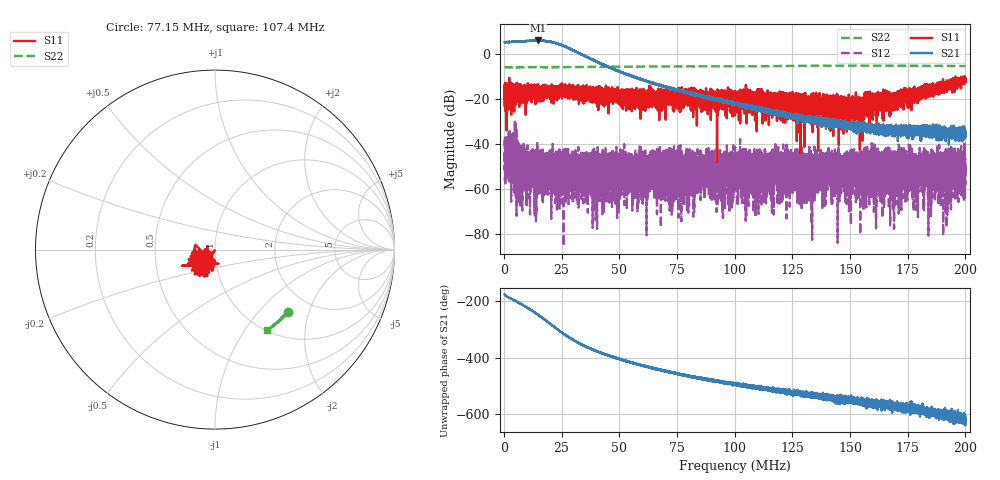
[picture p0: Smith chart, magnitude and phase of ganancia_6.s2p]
# Hz S DB R 50
! CMT, M5065, 19127446, 24.2.4/2
! Date: 11/8/2024 3:47:39 PM
! Data: Format (Calibration Info)
! Freq	S11:dB/Ang(F2)	S21:dB/Ang(F2)	S12:dB/Ang(F2)	S22:dB/Ang(F2)
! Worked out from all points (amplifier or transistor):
!   9000 points, 300 kHz to 200 MHz, reference 50 ohm
!   highest |S21| = 6.1 dB at 14.79 MHz (marker M1)
!   |S21| within 3 dB of that: start of sweep to 27.12 MHz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
!   unconditionally stable (mu >= 1): start of sweep to end of sweep
!   at 33.59 MHz: K = 144.29, MAG = 1.3 dB, |S12| = -51.9 dB
!   at 100.2 MHz: K = 1238.35, MAG = -20.2 dB, |S12| = -49.2 dB
!   at 200 MHz: K = 5799.58, MAG = -32.6 dB, |S12| = -50.5 dB
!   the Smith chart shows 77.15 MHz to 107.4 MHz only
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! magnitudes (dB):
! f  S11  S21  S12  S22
! 300 kHz  -13.9  5.3  -48.0  -5.8
! 4.383 MHz  -18.5  5.4  -43.6  -5.9
! 6.403 MHz  -17.7  5.5  -47.8  -5.9
! 14.79 MHz  -13.5  6.1  -50.5  -5.8
! 33.59 MHz  -17.5  -0.1  -51.9  -5.7
! 66.87 MHz  -23.2  -13.8  -53.5  -5.5
! 77.57 MHz  -18.6  -16.6  -48.2  -5.5
! 100.2 MHz  -20.5  -21.7  -49.2  -5.4
! 105.1 MHz  -21.5  -23.9  -51.5  -5.4
! 115.3 MHz  -21.1  -25.7  -50.6  -5.4
! 119.2 MHz  -24.3  -26.5  -44.3  -5.3
! 125.3 MHz  -25.9  -27.1  -45.8  -5.3
! 133.4 MHz  -21.7  -29.8  -54.7  -5.2
! 154.8 MHz  -29.4  -32.5  -59.1  -5.1
! 157.2 MHz  -21.8  -33.0  -46.3  -5.1
! 163.7 MHz  -18.2  -32.5  -53.5  -5.1
! 166.7 MHz  -17.8  -33.8  -53.3  -5.2
! 168.8 MHz  -21.1  -33.0  -69.5  -5.2
! 182.7 MHz  -16.3  -34.6  -44.8  -5.3
! 184.8 MHz  -17.8  -33.3  -47.4  -5.3
! 186.7 MHz  -17.6  -34.6  -46.2  -5.3
! 200 MHz  -11.6  -34.5  -50.5  -5.3
